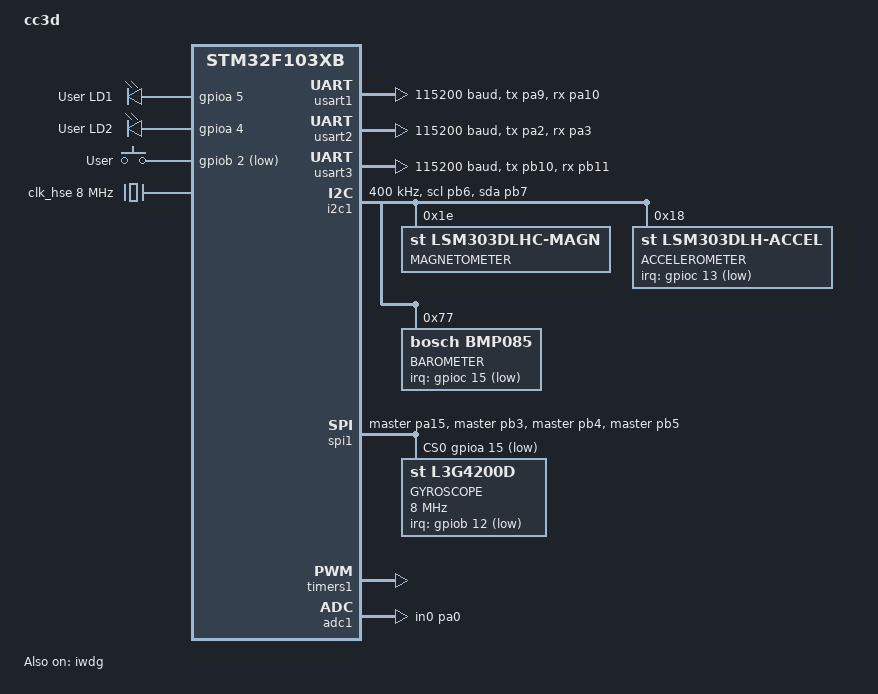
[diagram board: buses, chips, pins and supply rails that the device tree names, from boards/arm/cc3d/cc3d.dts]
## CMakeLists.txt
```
# SPDX-License-Identifier: Apache-2.0

cmake_minimum_required(VERSION 3.13.1)

# Add the board
list(APPEND BOARD_ROOT ${CMAKE_CURRENT_LIST_DIR})

list(APPEND ZEPHYR_EXTRA_MODULES ${CMAKE_CURRENT_SOURCE_DIR}/drivers/sensor/l3g4200d)
list(APPEND ZEPHYR_EXTRA_MODULES ${CMAKE_CURRENT_SOURCE_DIR}/drivers/sensor/lsm303dlh)

find_package(Zephyr REQUIRED HINTS $ENV{ZEPHYR_BASE})
project(zpilot)

# mavlink v2 library header files
target_include_directories(app PUBLIC ${CMAKE_CURRENT_SOURCE_DIR}/src/libs/c_library_v2/standard)

target_sources(app PRIVATE src/main.c)
target_sources(app PRIVATE src/sensor.c)
target_sources(app PRIVATE src/pwm.c)

target_sources(app PRIVATE src/telemetry/telemetry.c)
```

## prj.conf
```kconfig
CONFIG_LOG=y
CONFIG_SENSOR=y
CONFIG_L3G4200D=y

CONFIG_LSM303DLHC_MAGN=y

CONFIG_LSM303DLH_ACCEL=y
CONFIG_L3G4200D=y

CONFIG_CBPRINTF_FP_SUPPORT=y
```

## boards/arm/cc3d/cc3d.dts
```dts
/*
 * Copyright (c) 2021 gouqs@hotmail.com
 *
 * SPDX-License-Identifier: Apache-2.0
 */

/dts-v1/;
#include <st/f1/stm32f103Xb.dtsi>
#include <st/f1/stm32f103c(8-b)tx-pinctrl.dtsi>

/ {
	model = "cc3d";
	compatible = "cc3d";

	chosen {
		zephyr,console = &usart1;
		zephyr,shell-uart = &usart1;
		zephyr,sram = &sram0;
		zephyr,flash = &flash0;
		//zephyr,code-partition = &slot0_partition;
	};

	leds {
		compatible = "gpio-leds";
		green_led_1: led_1 {
			gpios = <&gpioa 5 GPIO_ACTIVE_HIGH>;
			label = "User LD1";
		};
		green_led_2: led_2 {
			gpios = <&gpioa 4 GPIO_ACTIVE_HIGH>;
			label = "User LD2";
		};
	};

	gpio_keys {
		compatible = "gpio-keys";
		user_button: button {
			label = "User";
			gpios = <&gpiob 2 GPIO_ACTIVE_LOW>;
		};
	};

	aliases {
		led0 = &green_led_1;
		led2 = &green_led_2;
		sw0 = &user_button;
	};
};

&clk_hse {
	clock-frequency = <DT_FREQ_M(8)>;
	status = "okay";
};

&pll {
	mul = <9>;
	clocks = <&clk_hse>;
	status = "okay";
};

&rcc {
	clocks = <&pll>;
	clock-frequency = <DT_FREQ_M(72)>;
	ahb-prescaler = <1>;
	apb1-prescaler = <2>;
	apb2-prescaler = <1>;
};

&usart1 {
	pinctrl-0 = <&usart1_tx_pa9 &usart1_rx_pa10>;
	current-speed = <115200>;
		status = "okay";
};

&usart2 {
	pinctrl-0 = <&usart2_tx_pa2 &usart2_rx_pa3>;
	current-speed = <115200>;
	status = "okay";
};

&usart3 {
	pinctrl-0 = <&usart3_tx_pb10 &usart3_rx_pb11>;
	current-speed = <115200>;
};

&i2c1 {
	pinctrl-0 = <&i2c1_scl_pb6 &i2c1_sda_pb7>;
	status = "okay";
	clock-frequency = <I2C_BITRATE_FAST>;

	lsm303dlhc_magn: lsm303dlhc_magn@1e {
		compatible = "st,lsm303dlhc-magn";
		reg = <0x1E>;
		label = "MAGNETOMETER";
		// irq-gpios = <&gpioc 14 GPIO_ACTIVE_LOW>;
	};

	lsm303dlh_accel: lsm303dlh_accel@18 {
		compatible = "st,lsm303dlh-accel";
		reg = <0x18>;
		label = "ACCELEROMETER";
		irq-gpios = <&gpioc 13 GPIO_ACTIVE_LOW>;
	};

	bmp085: bmp085@77 {
		compatible = "bosch,bmp085";
		reg = <0x77>;
		label = "BAROMETER";
		irq-gpios = <&gpioc 15 GPIO_ACTIVE_LOW>;
	};
};

&spi1 {
	pinctrl-0 = <&spi1_nss_master_pa15 &spi1_sck_master_pb3
			&spi1_miso_master_pb4 &spi1_mosi_master_pb5>;
	status = "okay";
	cs-gpios = <&gpioa 15 GPIO_ACTIVE_LOW>;

	l3g4200d: l3g4200d@0 {
		compatible = "st,l3g4200d";
		label = "GYROSCOPE";
		spi-max-frequency = <8000000>;
		reg = <0>;

		irq-gpios = <&gpiob 12 GPIO_ACTIVE_LOW>;
	};
};

&timers1 {
	status = "okay";

	pwm1: pwm {
		status = "okay";
		pinctrl-0 = <&tim1_ch1_pwm_pa8>;
	};
};

&iwdg {
	status = "okay";
};

&adc1 {
	pinctrl-0 = <&adc1_in0_pa0>;
	status = "okay";
};

&flash0 {
	partitions {
		compatible = "fixed-partitions";
		#address-cells = <1>;
		#size-cells = <1>;

		/* Set 2KB of storage at the end of 128KB flash */
		storage_partition: partition@1f800 {
			label = "storage";
			reg = <0x0001f800 0x00000800>;
		};
	};
};
```

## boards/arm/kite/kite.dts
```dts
/*
 * Copyright (c) 2021 gouqs@hotmail.com
 *
 * SPDX-License-Identifier: Apache-2.0
 */

/dts-v1/;
#include <st/f1/stm32f103Xb.dtsi>
#include <st/f1/stm32f103c(8-b)tx-pinctrl.dtsi>

/ {
	model = "kite";
	compatible = "kite";

	chosen {
		zephyr,console = &usart1;
		zephyr,shell-uart = &usart1;
		zephyr,sram = &sram0;
		zephyr,flash = &flash0;
		//zephyr,code-partition = &slot0_partition;
	};

	leds {
		compatible = "gpio-leds";
		green_led_1: led_1 {
			gpios = <&gpioa 5 GPIO_ACTIVE_HIGH>;
			label = "User LD1";
		};
		green_led_2: led_2 {
			gpios = <&gpioa 4 GPIO_ACTIVE_HIGH>;
			label = "User LD2";
		};
	};

	gpio_keys {
		compatible = "gpio-keys";
		user_button: button {
			label = "User";
			gpios = <&gpiob 2 GPIO_ACTIVE_LOW>;
		};
	};

	aliases {
		led0 = &green_led_1;
		led2 = &green_led_2;
		sw0 = &user_button;
		pwm-servo = &pwm3;
	};
};

&clk_hse {
	clock-frequency = <DT_FREQ_M(8)>;
	status = "okay";
};

&pll {
	mul = <9>;
	clocks = <&clk_hse>;
	status = "okay";
};

&rcc {
	clocks = <&pll>;
	clock-frequency = <DT_FREQ_M(72)>;
	ahb-prescaler = <1>;
	apb1-prescaler = <2>;
	apb2-prescaler = <1>;
};

&usart1 {
	pinctrl-0 = <&usart1_tx_pa9 &usart1_rx_pa10>;
	current-speed = <115200>;
	status = "okay";
};

&usart3 {
	pinctrl-0 = <&usart3_tx_pb10 &usart3_rx_pb11>;
	current-speed = <115200>;
	status = "okay";
};

&i2c1 {
	pinctrl-0 = <&i2c1_scl_pb6 &i2c1_sda_pb7>;
	status = "okay";
	clock-frequency = <I2C_BITRATE_FAST>;

	lsm303dlhc_magn: lsm303dlhc_magn@1e {
		compatible = "st,lsm303dlhc-magn";
		reg = <0x1E>;
		label = "MAGNETOMETER";
		// irq-gpios = <&gpioc 14 GPIO_ACTIVE_LOW>;
	};

	lsm303dlh_accel: lsm303dlh_accel@18 {
		compatible = "st,lsm303dlh-accel";
		reg = <0x18>;
		label = "ACCELEROMETER";
		irq-gpios = <&gpioc 13 GPIO_ACTIVE_LOW>;
	};

	bmp085: bmp085@77 {
		compatible = "bosch,bmp085";
		reg = <0x77>;
		label = "BAROMETER";
		irq-gpios = <&gpioc 15 GPIO_ACTIVE_LOW>;
	};
};

&spi1 {
	pinctrl-0 = <&spi1_nss_master_pa15 &spi1_sck_master_pb3
			&spi1_miso_master_pb4 &spi1_mosi_master_pb5>;
	status = "okay";
	cs-gpios = <&gpioa 15 GPIO_ACTIVE_LOW>;

	l3g4200d: l3g4200d@0 {
		compatible = "st,l3g4200d";
		label = "GYROSCOPE";
		spi-max-frequency = <8000000>;
		reg = <0>;

		irq-gpios = <&gpiob 12 GPIO_ACTIVE_LOW>;
	};
};

&timers2 {
	status = "okay";

	pwm2: pwm {
		status = "okay";
		st,prescaler = <71>;
		pinctrl-0 = <&tim2_ch1_pwm_pa0 &tim2_ch2_pwm_pa1 &tim2_ch3_pwm_pa2 &tim2_ch4_pwm_pa3>;
	};
};

&timers3 {
	status = "okay";

	pwm3: pwm {
		status = "okay";
		st,prescaler = <71>;
		pinctrl-0 = <&tim3_ch1_pwm_pa6 &tim3_ch2_pwm_pa7 &tim3_ch3_pwm_pb0 &tim3_ch4_pwm_pb1>;
	};
};

&timers4 {
	status = "okay";

	pwm4: pwm {
		status = "okay";
		st,prescaler = <71>;
		pinctrl-0 = <&tim4_ch3_pwm_pb8 &tim4_ch4_pwm_pb9>;
	};
};

&iwdg {
	status = "okay";
};

&adc1 {
	pinctrl-0 = <&adc1_in0_pa0>;
	status = "okay";
};

&flash0 {
	partitions {
		compatible = "fixed-partitions";
		#address-cells = <1>;
		#size-cells = <1>;

		/* Set 2KB of storage at the end of 128KB flash */
		storage_partition: partition@1f800 {
			label = "storage";
			reg = <0x0001f800 0x00000800>;
		};
	};
};
```

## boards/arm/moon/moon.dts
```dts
/*
 * Copyright (c) 2021 gouqs@hotmail.com
 *
 * SPDX-License-Identifier: Apache-2.0
 */

/dts-v1/;
#include <st/f1/stm32f103Xb.dtsi>
#include <st/f1/stm32f103r(8-b)tx-pinctrl.dtsi>

/ {
	model = "moon";
	compatible = "moon";

	chosen {
		zephyr,console = &usart2;
		zephyr,shell-uart = &usart2;
		zephyr,sram = &sram0;
		zephyr,flash = &flash0;
		//zephyr,code-partition = &slot0_partition;
	};



	aliases {
	};
};

&usart1 {
	pinctrl-0 = <&usart1_tx_pa9 &usart1_rx_pa10>;
	current-speed = <115200>;
};

&usart2 {
	pinctrl-0 = <&usart2_tx_pa2 &usart2_rx_pa3>;
	current-speed = <115200>;
	status = "okay";
};

&usart3 {
	pinctrl-0 = <&usart3_tx_pb10 &usart3_rx_pb11>;
	current-speed = <115200>;
};

&i2c1 {
	pinctrl-0 = <&i2c1_scl_pb8 &i2c1_sda_pb9>;
	status = "okay";
	clock-frequency = <I2C_BITRATE_FAST>;
};

&spi1 {
	pinctrl-0 = <&spi1_nss_master_pa4 &spi1_sck_master_pa5
		     &spi1_miso_master_pa6 &spi1_mosi_master_pa7>;
	status = "okay";
};

&spi2 {
	pinctrl-0 = <&spi2_nss_master_pb12 &spi2_sck_master_pb13
		     &spi2_miso_master_pb14 &spi2_mosi_master_pb15>;
	status = "okay";
};

&timers1 {
	status = "okay";

	pwm1: pwm {
		status = "okay";
		pinctrl-0 = <&tim1_ch1_pwm_pa8>;
	};
};

&iwdg {
	status = "okay";
};

&adc1 {
	pinctrl-0 = <&adc1_in0_pa0>;
	status = "okay";
};

&flash0 {
	partitions {
		compatible = "fixed-partitions";
		#address-cells = <1>;
		#size-cells = <1>;

		/* Set 2KB of storage at the end of 128KB flash */
		storage_partition: partition@1f800 {
			label = "storage";
			reg = <0x0001f800 0x00000800>;
		};
	};
};
```

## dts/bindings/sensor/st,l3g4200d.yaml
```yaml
# SPDX-License-Identifier: Apache-2.0

description: This is a representation of the st,l3g4200d gyroscope sensor

compatible: "st,l3g4200d"

include: spi-device.yaml

properties:
            irq-gpios:
                      type: phandle-array
                      required: false
```

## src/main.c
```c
/*
 * Copyright (c) 2021 zpilot.
 *
 * SPDX-License-Identifier: Apache-2.0
 */

#include <zephyr.h>
#include <sys/printk.h>

#ifdef CONFIG_EVENTS

#define EVT_500HZ       BIT(0)
#define EVT_200HZ       BIT(1)
#define EVT_100HZ       BIT(2)
#define EVT_50HZ        BIT(3)
#define EVT_10HZ        BIT(4)
#define EVT_1HZ         BIT(5)

static K_EVENT_DEFINE(worker_event);
#endif


void main(void)
{
	uint32_t events = 0;

	printk("Hello World! %s\n", CONFIG_BOARD);
#ifdef CONFIG_EVENTS
	while (1) {
		if (events = k_event_wait(&worker_event,
				   EVT_500HZ | EVT_200HZ |
				   EVT_100HZ | EVT_50HZ | EVT_10HZ,
				   false, K_FOREVER)) {
			if (events & EVT_500HZ) {

			}

			if (events & EVT_200HZ) {

			}

			if (events & EVT_100HZ) {

			}

			if (events & EVT_50HZ) {

			}

			if (events & EVT_10HZ) {

			}
		}
	}
#endif
}
```

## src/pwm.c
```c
/*
 * Copyright (c) 2016 Intel Corporation
 *
 * SPDX-License-Identifier: Apache-2.0
 */

/**
 * @file Sample app to demonstrate PWM-based servomotor control
 */

#include <zephyr.h>
#include <sys/printk.h>
#include <device.h>
#include <drivers/pwm.h>

#define PWM_NODE DT_ALIAS(pwm_servo)

#if !DT_NODE_HAS_STATUS(PWM_NODE, okay)
#error "Unsupported board: pwm-servo devicetree alias is not defined or enabled"
#endif

/*
 * Unlike pulse width, the PWM period is not a critical parameter for
 * motor control. 20 ms is commonly used.
 */
#define PERIOD_USEC	(20U * USEC_PER_MSEC)
#define STEP_USEC	100
#define MIN_PULSE_USEC	700
#define MAX_PULSE_USEC	2300

#define PWM_STACK_SIZE   1024
#define PWM_PRIORITY     5

enum direction {
	DOWN,
	UP,
};

void pwm_thread(void)
{
	const struct device *pwm;
	uint32_t pulse_width = MIN_PULSE_USEC;
	enum direction dir = UP;
	int ret;

	printk("Servomotor control\n");
#if 0
	pwm = DEVICE_DT_GET(PWM_NODE);
	if (!device_is_ready(pwm)) {
		printk("Error: PWM device %s is not ready\n", pwm->name);
		return;
	}
#else
	pwm = device_get_binding(DT_LABEL(PWM_NODE));
	if (!pwm) {
		printk("Error: PWM device %s open error\n", DT_LABEL(PWM_NODE));
		return;
	}
#endif
	while (1) {
		ret = pwm_pin_set_usec(pwm, 0, PERIOD_USEC, pulse_width, 0);
		if (ret < 0) {
			printk("Error %d: failed to set pulse width\n", ret);
			return;
		}

		if (dir == DOWN) {
			if (pulse_width <= MIN_PULSE_USEC) {
				dir = UP;
				pulse_width = MIN_PULSE_USEC;
			} else {
				pulse_width -= STEP_USEC;
			}
		} else {
			pulse_width += STEP_USEC;

			if (pulse_width >= MAX_PULSE_USEC) {
				dir = DOWN;
				pulse_width = MAX_PULSE_USEC;
			}
		}

		k_sleep(K_SECONDS(1));
	}
}
K_THREAD_DEFINE(pwm_tid, PWM_STACK_SIZE, pwm_thread, NULL, NULL, NULL, PWM_PRIORITY, 0, 0);
```

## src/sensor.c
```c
/*
 *
 * SPDX-License-Identifier: Apache-2.0
 */

#include <zephyr.h>
#include <device.h>
#include <drivers/sensor.h>
#include <stdio.h>
#include <sys/util.h>

#define SENSOR_STACK_SIZE   1024
#define SENSOR_PRIORITY     5

static int32_t read_sensor(const struct device *sensor,
			   enum sensor_channel channel)
{
	struct sensor_value val[3];
	int32_t ret = 0;

	ret = sensor_sample_fetch(sensor);
	if (ret < 0 && ret != -EBADMSG) {
		printf("Sensor sample update error\n");
		goto end;
	}

	ret = sensor_channel_get(sensor, channel, val);
	if (ret < 0) {
		printf("Cannot read sensor channels\n");
		goto end;
	}

	printf("( x y z ) = ( %f  %f  %f )\n", sensor_value_to_double(&val[0]),
					       sensor_value_to_double(&val[1]),
					       sensor_value_to_double(&val[2]));

end:
	return ret;
}

void sensor_thread(void)
{
	const struct device *accelerometer = device_get_binding(
						DT_LABEL(DT_INST(0, st_lsm303dlh_accel)));
//	const struct device *magnetometer = device_get_binding(
//						DT_LABEL(DT_INST(0, st_lsm303dlhc_magn)));

	if (accelerometer == NULL) {
		printf("Could not get %s device\n",
				DT_LABEL(DT_INST(0, st_lsm303dlh_accel)));
		return;
	}
/*
	if (magnetometer == NULL) {
		printf("Could not get %s device\n",
				DT_LABEL(DT_INST(0, st_lsm303dlhc_magn)));
		return;
	}
*/
	while (1) {
/*		printf("Magnetometer data:\n");
		if (read_sensor(magnetometer, SENSOR_CHAN_MAGN_XYZ) < 0) {
			printf("Failed to read magnetometer data\n");
		}
*/
		printf("Accelerometer data:\n");
		if (read_sensor(accelerometer, SENSOR_CHAN_ACCEL_XYZ) < 0) {
			printf("Failed to read accelerometer data\n");
		}

		k_sleep(K_MSEC(2000));
	}
}
K_THREAD_DEFINE(sensor_tid, SENSOR_STACK_SIZE, sensor_thread, NULL, NULL, NULL, SENSOR_PRIORITY, 0, 0);
```
